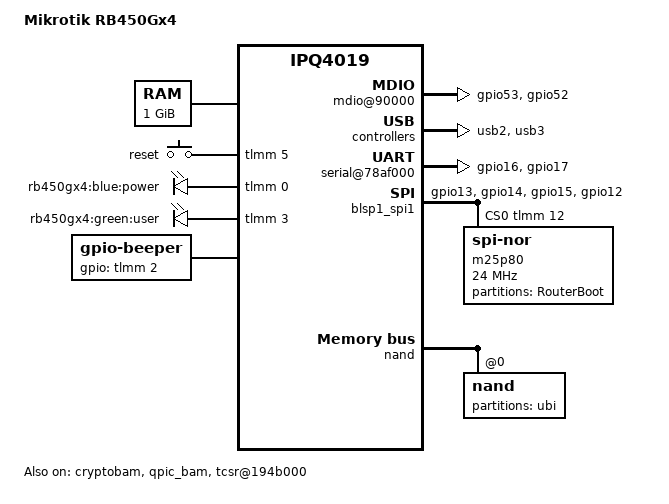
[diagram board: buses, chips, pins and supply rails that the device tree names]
/* Copyright (c) 2015, The Linux Foundation. All rights reserved.
 * Copyright (c) 2019, Robert Marko <robimarko@gmail.com>
 *
 * Permission to use, copy, modify, and/or distribute this software for any
 * purpose with or without fee is hereby granted, provided that the above
 * copyright notice and this permission notice appear in all copies.
 *
 * THE SOFTWARE IS PROVIDED "AS IS" AND THE AUTHOR DISCLAIMS ALL WARRANTIES
 * WITH REGARD TO THIS SOFTWARE INCLUDING ALL IMPLIED WARRANTIES OF
 * MERCHANTABILITY AND FITNESS. IN NO EVENT SHALL THE AUTHOR BE LIABLE FOR
 * ANY SPECIAL, DIRECT, INDIRECT, OR CONSEQUENTIAL DAMAGES OR ANY DAMAGES
 * WHATSOEVER RESULTING FROM LOSS OF USE, DATA OR PROFITS, WHETHER IN AN
 * ACTION OF CONTRACT, NEGLIGENCE OR OTHER TORTIOUS ACTION, ARISING OUT OF
 * OR IN CONNECTION WITH THE USE OR PERFORMANCE OF THIS SOFTWARE.
 *
 */

#include "qcom-ipq4019.dtsi"
#include <dt-bindings/gpio/gpio.h>
#include <dt-bindings/input/input.h>
#include <dt-bindings/soc/qcom,tcsr.h>

/ {
	model = "Mikrotik RB450Gx4";
	compatible = "mikrotik,rb450gx4";

	memory {
		device_type = "memory";
		reg = <0x80000000 0x40000000>;
	};

	chosen {
		stdout-path = "serial0:115200n8";
	};

	aliases {
		led-boot = &user;
		led-failsafe = &user;
		led-running = &user;
		led-upgrade = &user;
	};

	soc {
		rng@22000 {
			status = "okay";
		};

		mdio@90000 {
			status = "okay";
			pinctrl-0 = <&mdio_pins>;
			pinctrl-names = "default";
		};

		ess-psgmii@98000 {
			status = "disabled";
		};

		counter@4a1000 {
			compatible = "qcom,qca-gcnt";
			reg = <0x4a1000 0x4>;
		};

		tcsr@1949000 {
			compatible = "qcom,tcsr";
			reg = <0x1949000 0x100>;
			qcom,wifi_glb_cfg = <TCSR_WIFI_GLB_CFG>;
		};

		tcsr@194b000 {
			/* select hostmode */
			compatible = "qcom,tcsr";
			reg = <0x194b000 0x100>;
			qcom,usb-hsphy-mode-select = <TCSR_USB_HSPHY_HOST_MODE>;
			status = "okay";
		};

		ess_tcsr@1953000 {
			compatible = "qcom,tcsr";
			reg = <0x1953000 0x1000>;
			qcom,ess-interface-select = <TCSR_ESS_PSGMII>;
		};

		tcsr@1957000 {
			compatible = "qcom,tcsr";
			reg = <0x1957000 0x100>;
			qcom,wifi_noc_memtype_m0_m2 = <TCSR_WIFI_NOC_MEMTYPE_M0_M2>;
		};

		usb2: usb2@60f8800 {
			status = "okay";
		};

		serial@78af000 {
			pinctrl-0 = <&serial_pins>;
			pinctrl-names = "default";
			status = "okay";
		};

		usb3: usb3@8af8800 {
			status = "okay";
		};

		crypto@8e3a000 {
			status = "okay";
		};

		watchdog@b017000 {
			status = "okay";
		};

		vccq_sd0: regulator@0 {
			compatible = "qcom,regulator-ipq4019";
			regulator-name = "SD0 VccQ";
			regulator-min-microvolt = <1800000>;
			regulator-max-microvolt = <3000000>;
			states = <3000000 0x3
					  1800000 0x1>;
			reg = <0x01948000 0x4>;
			mask = <0x3>;
			status = "disabled";
		};

		sdhci@7824000 {
			compatible = "qcom,sdhci-msm-v4";
			reg = <0x7824900 0x11c>, <0x7824000 0x800>;
			interrupts = <0 123 0>, <0 138 0>;
			interrupt-names = "hc_irq", "pwr_irq";
			bus-width = <8>;
			clocks = <&gcc GCC_SDCC1_APPS_CLK>, <&gcc GCC_SDCC1_AHB_CLK>, <&xo>;
			clock-names = "core", "iface", "xo";
			vqmmc-supply = <&vccq_sd0>;
			cd-gpios = <&tlmm 22 GPIO_ACTIVE_LOW>;
			sd-ldo-gpios = <&tlmm 33 GPIO_ACTIVE_LOW>;
			status = "disabled";
		};

		ess-switch@c000000 {
			status = "disabled";
		};

		edma@c080000 {
			status = "disabled";
			qcom,num_gmac = <1>;
		};
	};

	/*gpio-export {
		compatible = "gpio-export";

		gpio_poe_out {
			gpio-export,name = "rb450gx4:sd:ldo";
			gpio-export,output = <1>;
			gpios = <&tlmm 33 GPIO_ACTIVE_HIGH>;
		};
	};*/

	gpio-keys {
		compatible = "gpio-keys";

		reset {
			label = "reset";
			gpios = <&tlmm 5 GPIO_ACTIVE_HIGH>;
			linux,code = <KEY_RESTART >;
		};
	};

	leds {
		compatible = "gpio-leds";

		power: power {
			label = "rb450gx4:blue:power";
			gpios = <&tlmm 0 GPIO_ACTIVE_HIGH>;
			default-state = "keep";
			panic-indicator;
		};

		user: user {
			label = "rb450gx4:green:user";
			gpios = <&tlmm 3 GPIO_ACTIVE_HIGH>;
		};
	};

	beeper: beeper {
			compatible = "gpio-beeper";
			gpios = <&tlmm 2 GPIO_ACTIVE_HIGH>;
	};
};


&tlmm {
	serial_pins: serial_pinmux {
		mux {
			pins = "gpio16", "gpio17";
			function = "blsp_uart0";
			bias-disable;
		};
	};

	spi_0_pins: spi-0-pinmux {
					pinmux {
						function = "blsp_spi0";
						pins = "gpio13", "gpio14", "gpio15";
						bias-disable;
					};
					pinmux_cs {
						function = "gpio";
						pins = "gpio12";
						bias-disable;
						output-high;
					};
				};

	mdio_pins: mdio_pinmux {
		mux_1 {
			pins = "gpio53";
			function = "mdio";
			bias-pull-up;
		};
		mux_2 {
			pins = "gpio52";
			function = "mdc";
			bias-pull-up;
		};
	};

	/*nand_pins: nand_pins {

		pullups {
			pins = "gpio52", "gpio53", "gpio58",
				"gpio59";
			function = "qpic";
			bias-pull-up;
		};

		pulldowns {
			pins = "gpio54", "gpio55", "gpio56",
				"gpio57", "gpio60", "gpio61",
				"gpio62", "gpio63", "gpio64",
				"gpio65", "gpio66", "gpio67",
				"gpio68", "gpio69";
			function = "qpic";
			bias-pull-down;
		};
	};*/
};

&blsp_dma {
	status = "okay";
};

&blsp1_spi1 {
	pinctrl-0 = <&spi_0_pins>;
	pinctrl-names = "default";
	cs-gpios = <&tlmm 12 GPIO_ACTIVE_HIGH>;
	status = "okay";

	m25p80@0 {
		reg = <0>;
		compatible = "jedec,spi-nor";
		spi-max-frequency = <24000000>;

		partitions {
			compatible = "fixed-partitions";
			#address-cells = <1>;
			#size-cells = <1>;

			partition0@0 {
				label = "RouterBoot";
				reg = <0x00080000 0x000c0000>;
				read-only;
			};
		};
	};
};

&cryptobam {
	status = "okay";
};

&nand {
	//pinctrl-0 = <&nand_pins>;
	pinctrl-names = "default";
	status = "okay";

	nand@0 {
		partitions {
			compatible = "fixed-partitions";
			#address-cells = <1>;
			#size-cells = <1>;

			partition@0 {
				label = "ubi";
				reg = <0x00000000 0x20000000>;
			};
		};
	};
};

&qpic_bam {
	status = "okay";
};

